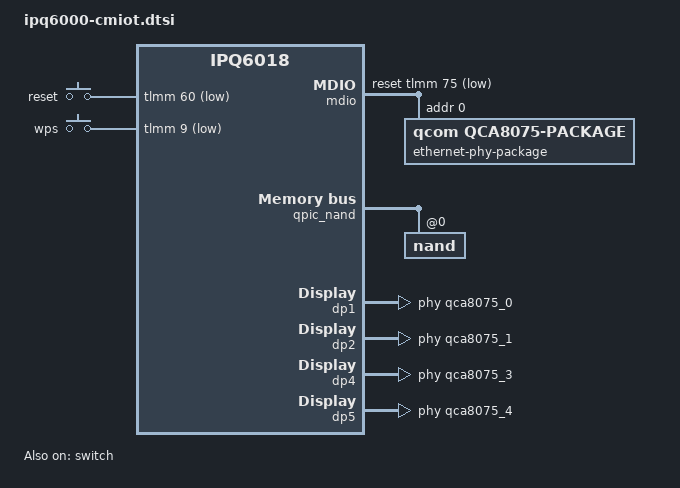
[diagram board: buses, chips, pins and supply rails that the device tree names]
// SPDX-License-Identifier: GPL-2.0-or-later OR MIT

#include "ipq6018.dtsi"
#include "ipq6018-ess.dtsi"
#include "ipq6018-nss.dtsi"
#include "ipq6018-common.dtsi"

#include <dt-bindings/gpio/gpio.h>
#include <dt-bindings/input/input.h>
#include <dt-bindings/leds/common.h>

/ {
	aliases {
		serial0 = &blsp1_uart3;

		ethernet0 = &dp1;
		ethernet1 = &dp2;
		ethernet3 = &dp4;
		ethernet4 = &dp5;
	};

	chosen {
		stdout-path = "serial0:115200n8";
		bootargs-append = " root=/dev/ubiblock0_1";
	};

	keys {
		compatible = "gpio-keys";

		reset {
			label = "reset";
			gpios = <&tlmm 60 GPIO_ACTIVE_LOW>;
			linux,code = <KEY_RESTART>;
		};

		wps {
			label = "wps";
			gpios = <&tlmm 9 GPIO_ACTIVE_LOW>;
			linux,code = <KEY_WPS_BUTTON>;
		};
	};
};

&mdio {
	status = "okay";

	pinctrl-0 = <&mdio_pins>;
	pinctrl-names = "default";
	reset-gpios = <&tlmm 75 GPIO_ACTIVE_LOW>;

	ethernet-phy-package@0 {
		compatible = "qcom,qca8075-package";
		#address-cells = <1>;
		#size-cells = <0>;
		reg = <0>;

		qca8075_0: ethernet-phy@0 {
			compatible = "ethernet-phy-ieee802.3-c22";
			reg = <0>;
		};

		qca8075_1: ethernet-phy@1 {
			compatible = "ethernet-phy-ieee802.3-c22";
			reg = <1>;
		};

		qca8075_3: ethernet-phy@3 {
			compatible = "ethernet-phy-ieee802.3-c22";
			reg = <3>;
		};

		qca8075_4: ethernet-phy@4 {
			compatible = "ethernet-phy-ieee802.3-c22";
			reg = <4>;
		};
	};
};

&switch {
	status = "okay";

	switch_lan_bmp = <(ESS_PORT1 | ESS_PORT2 | ESS_PORT4)>;
	switch_wan_bmp = <ESS_PORT5>;
	switch_mac_mode = <MAC_MODE_PSGMII>;

	qcom,port_phyinfo {
		port@1 {
			port_id = <1>;
			phy_address = <0>;
		};

		port@2 {
			port_id = <2>;
			phy_address = <1>;
		};

		port@4 {
			port_id = <4>;
			phy_address = <3>;
		};

		port@5 {
			port_id = <5>;
			phy_address = <4>;
		};
	};
};

&qpic_nand {
	status = "okay";

	nand@0 {
		reg = <0>;

		nand-ecc-strength = <4>;
		nand-ecc-step-size = <512>;
		nand-bus-width = <8>;

		partitions {
			compatible = "qcom,smem-part";
		};
	};
};

&dp1 {
	status = "okay";
	phy-handle = <&qca8075_0>;
	label = "lan3";
};

&dp2 {
	status = "okay";
	phy-handle = <&qca8075_1>;
	label = "lan2";
};

&dp4 {
	status = "okay";
	phy-handle = <&qca8075_3>;
	label = "lan1";
};

&dp5 {
	status = "okay";
	phy-handle = <&qca8075_4>;
	label = "wan";
};

&edma {
	status = "okay";
};
